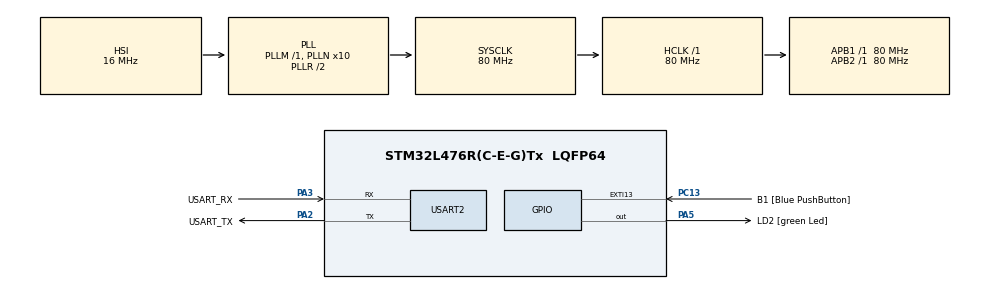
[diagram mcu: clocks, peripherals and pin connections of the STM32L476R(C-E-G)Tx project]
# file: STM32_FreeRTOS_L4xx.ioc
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FREERTOS.Tasks01=defaultTask,0,128,StartDefaultTask,Default,NULL,Dynamic,NULL,NULL
Mcu.Family=STM32L4
Mcu.Name=STM32L476R(C-E-G)Tx
Mcu.Package=LQFP64
NVIC.PriorityGroup=NVIC_PRIORITYGROUP_4
PA13\ (JTMS-SWDIO).GPIO_Label=TMS
PA13\ (JTMS-SWDIO).Mode=Serial_Wire
PA13\ (JTMS-SWDIO).Signal=SYS_JTMS-SWDIO
PA14\ (JTCK-SWCLK).GPIO_Label=TCK
PA14\ (JTCK-SWCLK).Mode=Serial_Wire
PA14\ (JTCK-SWCLK).Signal=SYS_JTCK-SWCLK
PA2.GPIO_Label=USART_TX
PA2.GPIO_Mode=GPIO_MODE_AF_PP
PA2.GPIO_PuPd=GPIO_NOPULL
PA2.GPIO_Speed=GPIO_SPEED_FREQ_VERY_HIGH
PA2.Mode=Asynchronous
PA2.Signal=USART2_TX
PA3.GPIO_Label=USART_RX
PA3.GPIO_Mode=GPIO_MODE_AF_PP
PA3.GPIO_PuPd=GPIO_NOPULL
PA3.GPIO_Speed=GPIO_SPEED_FREQ_VERY_HIGH
PA3.Mode=Asynchronous
PA3.Signal=USART2_RX
PA5.GPIO_Label=LD2 [green Led]
PA5.GPIO_ModeDefaultOutputPP=GPIO_MODE_OUTPUT_PP
PA5.GPIO_PuPd=GPIO_NOPULL
PA5.GPIO_Speed=GPIO_SPEED_FREQ_LOW
PA5.Signal=GPIO_Output
PB3\ (JTDO-TRACESWO).GPIO_Label=SWO
PB3\ (JTDO-TRACESWO).Signal=SYS_JTDO-SWO
PC13.GPIO_Label=B1 [Blue PushButton]
PC13.GPIO_ModeDefaultEXTI=GPIO_MODE_IT_FALLING
PC13.GPIO_PuPd=GPIO_NOPULL
PC13.Signal=GPXTI13
PC14-OSC32_IN\ (PC14).Signal=RCC_OSC32_IN
PC15-OSC32_OUT\ (PC15).Signal=RCC_OSC32_OUT
PH0-OSC_IN\ (PH0).Mode=HSE-External-Oscillator
PH0-OSC_IN\ (PH0).Signal=RCC_OSC_IN
PH1-OSC_OUT\ (PH1).Mode=HSE-External-Oscillator
PH1-OSC_OUT\ (PH1).Signal=RCC_OSC_OUT
ProjectManager.HeapSize=0x200
ProjectManager.StackSize=0x400
ProjectManager.TargetToolchain=STM32CubeIDE
RCC.ADCFreq_Value=64000000
RCC.AHBFreq_Value=80000000
RCC.APB1Freq_Value=80000000
RCC.APB1TimFreq_Value=80000000
RCC.APB2Freq_Value=80000000
RCC.APB2TimFreq_Value=80000000
RCC.CortexFreq_Value=80000000
RCC.HCLKFreq_Value=80000000
RCC.HSE_VALUE=8000000
RCC.HSI_VALUE=16000000
RCC.LSE_VALUE=32768
RCC.MSI_VALUE=4000000
RCC.PLLN=10
RCC.PLLSourceVirtual=RCC_PLLSOURCE_HSI
RCC.PREFETCH_ENABLE=1
RCC.SYSCLKFreq_VALUE=80000000
RCC.SYSCLKSource=RCC_SYSCLKSOURCE_PLLCLK
RCC.USBFreq_Value=64000000
RCC.VCOOutputFreq_Value=160000000
USART2.VirtualMode-Asynchronous=VM_ASYNC
VP_FREERTOS_VS_CMSIS_V1.Mode=CMSIS_V1
board=NUCLEO-L476RG

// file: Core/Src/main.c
/* USER CODE BEGIN Header */
/**
  ******************************************************************************
  * @file           : main.c
  * @brief          : Main program body
  ******************************************************************************
  * @attention
  *
  * Copyright (c) 2025 STMicroelectronics.
  * All rights reserved.
  *
  * This software is licensed under terms that can be found in the LICENSE file
  * in the root directory of this software component.
  * If no LICENSE file comes with this software, it is provided AS-IS.
  *
  ******************************************************************************
  */
/* USER CODE END Header */
#include "main.h"
#include "cmsis_os.h"

UART_HandleTypeDef huart2;

osThreadId defaultTaskHandle;
/* USER CODE BEGIN PV */
TaskHandle_t xTaskHandle1 = {0};
TaskHandle_t xTaskHandle2 = {0};
uint8_t switchState = RESET;
/* USER CODE END PV */

void SystemClock_Config(void);
static void MX_GPIO_Init(void);
static void MX_USART2_UART_Init(void);
void StartDefaultTask(void const * argument);

/* USER CODE BEGIN PFP */
int _write(int file,char *ptr,int len)
{
    int i=0;
    for(i=0;i<len;i++)
    	ITM_SendChar((*ptr++));
    return len;
}
/* USER CODE END PFP */

/* USER CODE BEGIN 0 */
/*
 * Function Name : void task1LEDHandle(void *para)
 * Description   : This function is Task 1 handler to update LED Status
 */
void task1LEDHandle(void *para)
{
	/* Infinite loop */
	while(1)
	{
		/* if button is pressed */
		if(SET == switchState )
		{
			/* LED On */
			HAL_GPIO_WritePin(GPIOA, GPIO_PIN_5, GPIO_PIN_SET);

		}
		/* if button is not pressed */
		else if(RESET == switchState)
		{
			/* LED OFF */
			HAL_GPIO_WritePin(GPIOA, GPIO_PIN_5, GPIO_PIN_RESET);

		}
	}
}
/*
 * Function Name :  void task2SwitchHandle(void *para)
 * Description   :  This function is Task 2 handler to check Switch Status
 */
void task2SwitchHandle(void *para)
{
	/* Infinite loop */
	while(1U)
	{
		 /* button is  pressed */
		if(!(HAL_GPIO_ReadPin(GPIOC, GPIO_PIN_13)))
		{
			/* Update Switch State */
			switchState ^= SET;
			/*Switch Pressed */
			if(SET == switchState )
			{
				printf("LED On.. \r\n");

			}
			/*Switch Release */
			else if(RESET == switchState)
			{
				printf("LED Off.. \r\n");
			}

		}

	}
}
/* USER CODE END 0 */

int main(void)
{

  /* MCU Configuration--------------------------------------------------------*/

  /* Reset of all peripherals, Initializes the Flash interface and the Systick. */
  HAL_Init();

  /* Configure the system clock */
  SystemClock_Config();

  /* Initialize all configured peripherals */
  MX_GPIO_Init();
  MX_USART2_UART_Init();

  /* Create the thread(s) */
  /* definition and creation of defaultTask */
  osThreadDef(defaultTask, StartDefaultTask, osPriorityNormal, 0, 128);
  defaultTaskHandle = osThreadCreate(osThread(defaultTask), NULL);

  /* USER CODE BEGIN RTOS_THREADS */
  /* add threads, ... */
  /* Function call to create task 1*/
  xTaskCreate(task1LEDHandle, "LED Blink ", configMINIMAL_STACK_SIZE , NULL, 0, &xTaskHandle1);
  /* Function call to create task 2*/
  xTaskCreate(task2SwitchHandle, "Switch Status ", configMINIMAL_STACK_SIZE , NULL, 0, &xTaskHandle2);
  /* USER CODE END RTOS_THREADS */

  /* Start scheduler */
  osKernelStart();

  /* We should never get here as control is now taken by the scheduler */

  /* Infinite loop */
  while (1)
  {

  }
}

void SystemClock_Config(void)
{
  RCC_OscInitTypeDef RCC_OscInitStruct = {0};
  RCC_ClkInitTypeDef RCC_ClkInitStruct = {0};

  /** Configure the main internal regulator output voltage
  */
  if (HAL_PWREx_ControlVoltageScaling(PWR_REGULATOR_VOLTAGE_SCALE1) != HAL_OK)
  {
    Error_Handler();
  }

  /** Initializes the RCC Oscillators according to the specified parameters
  * in the RCC_OscInitTypeDef structure.
  */
  RCC_OscInitStruct.OscillatorType = RCC_OSCILLATORTYPE_HSI;
  RCC_OscInitStruct.HSIState = RCC_HSI_ON;
  RCC_OscInitStruct.HSICalibrationValue = RCC_HSICALIBRATION_DEFAULT;
  RCC_OscInitStruct.PLL.PLLState = RCC_PLL_ON;
  RCC_OscInitStruct.PLL.PLLSource = RCC_PLLSOURCE_HSI;
  RCC_OscInitStruct.PLL.PLLM = 1;
  RCC_OscInitStruct.PLL.PLLN = 10;
  RCC_OscInitStruct.PLL.PLLP = RCC_PLLP_DIV7;
  RCC_OscInitStruct.PLL.PLLQ = RCC_PLLQ_DIV2;
  RCC_OscInitStruct.PLL.PLLR = RCC_PLLR_DIV2;
  if (HAL_RCC_OscConfig(&RCC_OscInitStruct) != HAL_OK)
  {
    Error_Handler();
  }

  /** Initializes the CPU, AHB and APB buses clocks
  */
  RCC_ClkInitStruct.ClockType = RCC_CLOCKTYPE_HCLK|RCC_CLOCKTYPE_SYSCLK
                              |RCC_CLOCKTYPE_PCLK1|RCC_CLOCKTYPE_PCLK2;
  RCC_ClkInitStruct.SYSCLKSource = RCC_SYSCLKSOURCE_PLLCLK;
  RCC_ClkInitStruct.AHBCLKDivider = RCC_SYSCLK_DIV1;
  RCC_ClkInitStruct.APB1CLKDivider = RCC_HCLK_DIV1;
  RCC_ClkInitStruct.APB2CLKDivider = RCC_HCLK_DIV1;

  if (HAL_RCC_ClockConfig(&RCC_ClkInitStruct, FLASH_LATENCY_4) != HAL_OK)
  {
    Error_Handler();
  }
}

static void MX_USART2_UART_Init(void)
{

  huart2.Instance = USART2;
  huart2.Init.BaudRate = 115200;
  huart2.Init.WordLength = UART_WORDLENGTH_8B;
  huart2.Init.StopBits = UART_STOPBITS_1;
  huart2.Init.Parity = UART_PARITY_NONE;
  huart2.Init.Mode = UART_MODE_TX_RX;
  huart2.Init.HwFlowCtl = UART_HWCONTROL_NONE;
  huart2.Init.OverSampling = UART_OVERSAMPLING_16;
  huart2.Init.OneBitSampling = UART_ONE_BIT_SAMPLE_DISABLE;
  huart2.AdvancedInit.AdvFeatureInit = UART_ADVFEATURE_NO_INIT;
  if (HAL_UART_Init(&huart2) != HAL_OK)
  {
    Error_Handler();
  }

}

static void MX_GPIO_Init(void)
{
  GPIO_InitTypeDef GPIO_InitStruct = {0};

  /* GPIO Ports Clock Enable */
  __HAL_RCC_GPIOC_CLK_ENABLE();
  __HAL_RCC_GPIOH_CLK_ENABLE();
  __HAL_RCC_GPIOA_CLK_ENABLE();
  __HAL_RCC_GPIOB_CLK_ENABLE();

  /*Configure GPIO pin Output Level */
  HAL_GPIO_WritePin(LD2_GPIO_Port, LD2_Pin, GPIO_PIN_RESET);

  /*Configure GPIO pin : B1_Pin */
  GPIO_InitStruct.Pin = B1_Pin;
  GPIO_InitStruct.Mode = GPIO_MODE_IT_FALLING;
  GPIO_InitStruct.Pull = GPIO_NOPULL;
  HAL_GPIO_Init(B1_GPIO_Port, &GPIO_InitStruct);

  /*Configure GPIO pin : LD2_Pin */
  GPIO_InitStruct.Pin = LD2_Pin;
  GPIO_InitStruct.Mode = GPIO_MODE_OUTPUT_PP;
  GPIO_InitStruct.Pull = GPIO_NOPULL;
  GPIO_InitStruct.Speed = GPIO_SPEED_FREQ_LOW;
  HAL_GPIO_Init(LD2_GPIO_Port, &GPIO_InitStruct);

}

void StartDefaultTask(void const * argument)
{
  for(;;)
  {
    osDelay(1);
  }
}

void Error_Handler(void)
{
  __disable_irq();
  while (1)
  {
  }
}
